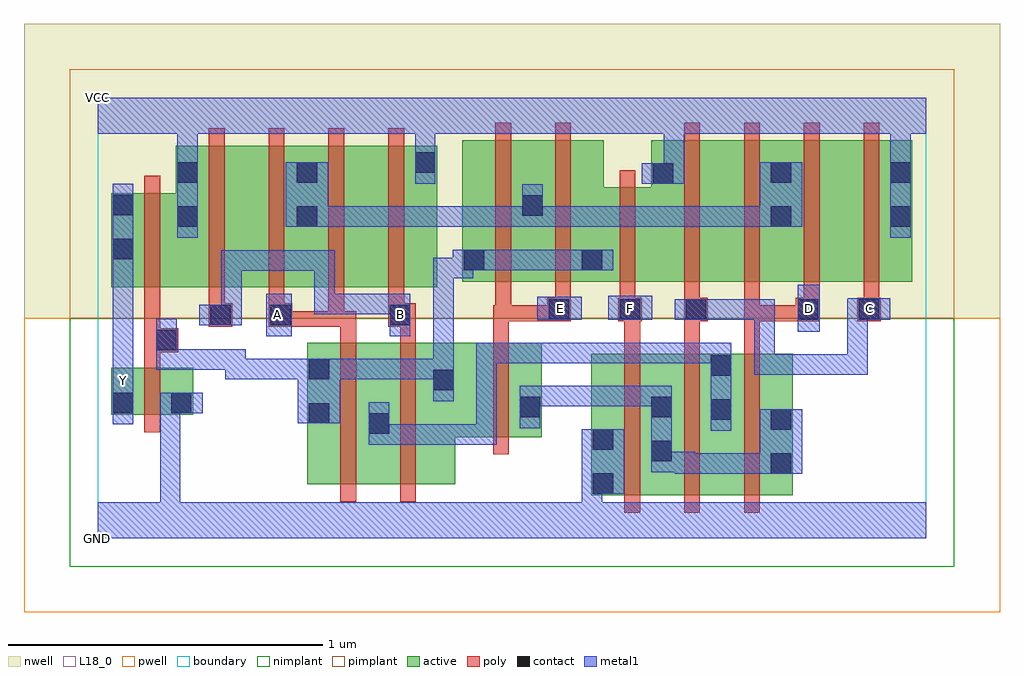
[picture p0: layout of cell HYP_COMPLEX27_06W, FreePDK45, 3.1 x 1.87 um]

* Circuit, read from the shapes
.subckt HYP_COMPLEX27_06W A B C D E F GND VCC Y
M1 GND n1 Y VSUBS nfet w=0.15u l=0.05u
M2 n2 A n1 VSUBS nfet w=0.45u l=0.05u
M3 n1 B n2 VSUBS nfet w=0.45u l=0.05u
M4 n3 E n1 VSUBS nfet w=0.3u l=0.05u
M5 n3 F GND VSUBS nfet w=0.45u l=0.05u
M6 n2 C n3 VSUBS nfet w=0.45u l=0.05u
M7 n3 D n2 VSUBS nfet w=0.45u l=0.05u
M8 VCC n1 Y n4 pfet w=0.3u l=0.05u
M9 n5 B VCC n4 pfet w=0.45u l=0.05u
M10 n6 A n5 n4 pfet w=0.45u l=0.05u
M11 n7 A n6 n4 pfet w=0.45u l=0.05u
M12 VCC B n7 n4 pfet w=0.45u l=0.05u
M13 n6 E n1 n4 pfet w=0.45u l=0.05u m=2
M14 VCC F n1 n4 pfet w=0.3u l=0.05u
M15 n8 C VCC n4 pfet w=0.45u l=0.05u
M16 n6 D n8 n4 pfet w=0.45u l=0.05u
M17 n9 D n6 n4 pfet w=0.45u l=0.05u
M18 VCC C n9 n4 pfet w=0.45u l=0.05u
.ends

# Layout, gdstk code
import gdstk
lib = gdstk.Library(unit=1e-6, precision=1e-09)
def R(c, l, rs):  # rectangles x0, y0, x1, y1
    for r in rs: c.add(gdstk.rectangle(r[:2], r[2:], *l))
def A(c, l, x, y, w, h, nx, ny, dx, dy):  # array of equal rectangles
    R(c, l, [(x+i*dx, y+j*dy, x+i*dx+w, y+j*dy+h) for i in range(nx) for j in range(ny)])
active = (1, 0)
pwell = (2, 0)
nwell = (3, 0)
nimplant = (4, 0)
pimplant = (5, 0)
poly = (9, 0)
contact = (10, 0)
metal1 = (11, 0)
L18_0 = (18, 0)
boundary = (235, 0)

hyp_complex27_06w = lib.new_cell('HYP_COMPLEX27_06W')
R(hyp_complex27_06w, active, [(1.567,0.137,1.827,0.587), (1.567,0.137,1.642,0.542), (1.752,0.137,2.017,0.587), (1.942,0.137,2.207,0.587), (0.665,0.172,0.93,0.622), (0.855,0.172,1.135,0.622), (0.665,0.195,0.74,0.622), (0.855,0.195,0.93,0.542), (1.752,0.195,1.827,0.542), (1.942,0.195,2.017,0.587), (2.132,0.195,2.207,0.587), (1.06,0.322,1.41,0.622), (1.06,0.33,1.135,0.54), (1.335,0.345,1.41,0.622), (0.042,0.392,0.117,0.542), (0.042,0.392,0.302,0.542), (0.227,0.392,0.302,0.542), (0.042,0.797,0.322,1.097), (0.042,0.797,0.117,1.097), (0.247,0.797,0.322,1.247), (0.247,0.797,0.472,1.247), (0.472,0.797,0.702,1.247), (0.627,0.797,0.852,1.247), (0.627,0.797,0.702,1.2), (0.852,0.797,1.077,1.247), (1.157,0.815,1.417,1.265), (1.157,0.815,1.232,1.047), (1.342,0.815,1.607,1.265), (1.342,0.815,1.417,1.2), (1.532,0.815,1.832,1.115), (1.757,0.815,1.982,1.265), (1.982,0.815,2.207,1.265), (2.132,0.815,2.362,1.265), (2.132,0.815,2.207,1.2), (2.362,0.815,2.587,1.265), (2.512,0.815,2.587,1.265), (1.532,0.847,1.607,1.07), (1.002,0.857,1.077,1.247), (1.757,0.887,1.832,1.265)])
R(hyp_complex27_06w, pwell, [(-0.235,-0.235,2.865,0.7)])
R(hyp_complex27_06w, nwell, [(-0.235,0.7,2.865,1.635)])
R(hyp_complex27_06w, nimplant, [(-0.09,-0.09,2.72,0.7)])
R(hyp_complex27_06w, pimplant, [(-0.09,0.7,2.72,1.49)])
A(hyp_complex27_06w, poly, 1.672, 0.082, 0.05, 0.56, 3, 1, 0.19, 0)
A(hyp_complex27_06w, poly, 1.672, 0.592, 0.05, 0.148, 3, 1, 0.19, 0)
A(hyp_complex27_06w, poly, 1.452, 0.715, 0.05, 0.095, 3, 1, 0.205, 0)
A(hyp_complex27_06w, poly, 0.352, 0.742, 0.05, 0.56, 4, 1, 0.19, 0)
A(hyp_complex27_06w, poly, 1.862, 0.76, 0.05, 0.56, 4, 1, 0.19, 0)
R(hyp_complex27_06w, poly, [(0.77,0.117,0.82,0.677), (0.96,0.117,1.01,0.677), (1.255,0.267,1.305,0.677), (0.147,0.337,0.197,0.597), (0.147,0.547,0.197,0.642), (0.147,0.592,0.255,0.667), (0.147,0.617,0.197,0.792), (0.77,0.627,0.82,0.722), (0.96,0.627,1.01,0.722), (1.255,0.627,1.305,0.74), (0.352,0.672,0.427,0.747), (0.542,0.672,0.617,0.747), (0.567,0.672,0.782,0.722), (0.567,0.672,0.617,0.722), (0.567,0.672,0.617,0.722), (0.732,0.672,0.782,0.792), (0.732,0.672,0.82,0.722), (0.922,0.672,1.01,0.747), (1.255,0.69,1.312,0.74), (1.262,0.69,1.477,0.74), (1.262,0.69,1.312,0.81), (1.427,0.69,1.502,0.765), (1.427,0.69,1.477,0.74), (1.427,0.69,1.477,0.74), (1.652,0.69,1.727,0.765), (1.862,0.69,1.937,0.765), (2.052,0.69,2.267,0.74), (2.052,0.69,2.102,0.74), (2.052,0.69,2.102,0.74), (2.052,0.69,2.102,0.74), (2.052,0.69,2.102,0.81), (2.217,0.69,2.292,0.765), (2.412,0.69,2.487,0.765), (0.352,0.697,0.402,0.792), (0.542,0.697,0.592,0.792), (0.922,0.697,0.972,0.792), (2.242,0.715,2.292,0.81), (2.432,0.715,2.482,0.81), (0.147,0.742,0.197,1.152), (1.262,0.76,1.312,1.32), (1.452,0.76,1.502,1.32), (1.657,0.76,1.707,1.17)])
R(hyp_complex27_06w, contact, [(1.572,0.142,1.637,0.207), (2.137,0.205,2.202,0.27), (1.757,0.245,1.822,0.31), (1.572,0.282,1.637,0.347), (0.86,0.332,0.925,0.397), (2.137,0.345,2.202,0.41), (0.67,0.365,0.735,0.43), (1.947,0.377,2.012,0.442), (1.34,0.385,1.405,0.45), (1.757,0.385,1.822,0.45), (0.047,0.397,0.112,0.462), (0.232,0.397,0.297,0.462), (1.065,0.47,1.13,0.535), (0.67,0.505,0.735,0.57), (1.947,0.517,2.012,0.582), (0.185,0.597,0.25,0.662), (0.357,0.677,0.422,0.742), (0.547,0.677,0.612,0.742), (0.927,0.677,0.992,0.742), (1.432,0.695,1.497,0.76), (1.657,0.695,1.722,0.76), (1.867,0.695,1.932,0.76), (2.222,0.695,2.287,0.76), (2.417,0.695,2.482,0.76), (1.162,0.852,1.227,0.917), (1.537,0.852,1.602,0.917), (0.047,0.887,0.112,0.952), (0.252,0.99,0.317,1.055), (0.632,0.99,0.697,1.055), (2.137,0.99,2.202,1.055), (2.517,0.99,2.582,1.055), (1.347,1.025,1.412,1.09), (0.047,1.027,0.112,1.092), (1.762,1.127,1.827,1.192), (0.252,1.13,0.317,1.195), (0.632,1.13,0.697,1.195), (2.137,1.13,2.202,1.195), (2.517,1.13,2.582,1.195), (1.007,1.162,1.072,1.227)])
R(hyp_complex27_06w, metal1, [(0,0,2.63,0.115), (0.197,0.05,0.262,0.115), (0.197,0.05,0.262,0.115), (0.197,0.05,0.262,0.115), (0.197,0.05,0.262,0.115), (0.197,0.05,0.262,0.115), (0.197,0.05,0.262,0.115), (0.197,0.05,0.262,0.462), (1.537,0.05,1.602,0.115), (1.537,0.05,1.602,0.115), (1.537,0.05,1.602,0.207), (1.537,0.142,1.672,0.347), (1.832,0.205,1.987,0.27), (1.832,0.205,1.897,0.275), (1.922,0.205,1.987,0.27), (1.922,0.205,2.15,0.27), (2.085,0.205,2.15,0.27), (2.085,0.205,2.167,0.27), (2.102,0.205,2.237,0.41), (1.757,0.21,1.822,0.485), (1.757,0.21,1.897,0.275), (0.86,0.297,0.925,0.362), (0.86,0.297,0.925,0.362), (0.86,0.297,0.925,0.432), (0.86,0.297,1.072,0.362), (1.007,0.297,1.072,0.362), (1.007,0.297,1.267,0.362), (1.202,0.297,1.267,0.362), (1.202,0.297,1.267,0.622), (1.947,0.342,2.012,0.617), (1.34,0.35,1.405,0.485), (0.047,0.362,0.112,0.497), (0.635,0.365,0.77,0.57), (0.197,0.397,0.332,0.462), (1.34,0.42,1.405,0.485), (1.34,0.42,1.405,0.485), (1.34,0.42,1.622,0.485), (1.557,0.42,1.622,0.485), (1.557,0.42,1.622,0.485), (1.557,0.42,1.622,0.485), (1.557,0.42,1.822,0.485), (0.047,0.432,0.112,0.497), (0.047,0.432,0.112,0.567), (1.065,0.435,1.13,0.57), (0.047,0.502,0.112,0.917), (0.405,0.505,0.595,0.57), (0.405,0.505,0.47,0.6), (0.53,0.505,0.595,0.57), (0.53,0.505,0.7,0.57), (0.705,0.505,0.77,0.57), (0.705,0.505,0.77,0.57), (0.705,0.505,0.935,0.57), (0.87,0.505,0.935,0.57), (0.87,0.505,0.935,0.57), (0.87,0.505,0.935,0.57), (0.87,0.505,1.13,0.57), (1.065,0.505,1.13,0.892), (2.085,0.52,2.15,0.76), (2.085,0.52,2.15,0.585), (2.085,0.52,2.31,0.585), (2.245,0.52,2.31,0.585), (2.245,0.52,2.445,0.585), (2.38,0.52,2.445,0.76), (2.38,0.52,2.445,0.585), (0.185,0.535,0.25,0.6), (0.185,0.535,0.387,0.6), (0.185,0.535,0.25,0.627), (0.322,0.535,0.387,0.6), (0.322,0.535,0.47,0.6), (1.947,0.552,2.012,0.617), (1.947,0.552,2.012,0.622), (1.202,0.557,1.267,0.622), (1.202,0.557,1.267,0.622), (1.202,0.557,1.267,0.622), (1.202,0.557,1.43,0.622), (1.365,0.557,1.43,0.622), (1.365,0.557,1.43,0.622), (1.365,0.557,1.43,0.622), (1.365,0.557,1.585,0.622), (1.52,0.557,1.585,0.622), (1.52,0.557,1.76,0.622), (1.695,0.557,1.76,0.622), (1.695,0.557,1.76,0.622), (1.695,0.557,1.76,0.622), (1.695,0.557,2.012,0.622), (0.185,0.562,0.25,0.627), (0.185,0.562,0.25,0.627), (0.185,0.562,0.25,0.697), (0.535,0.642,0.615,0.777), (0.927,0.642,0.992,0.777), (2.222,0.657,2.292,0.805), (0.322,0.677,0.457,0.742), (0.392,0.677,0.457,0.742), (0.392,0.677,0.457,0.742), (0.392,0.677,0.457,0.915), (1.395,0.695,1.537,0.767), (1.62,0.695,1.76,0.77), (1.832,0.695,1.967,0.76), (1.902,0.695,1.967,0.76), (1.902,0.695,1.967,0.76), (1.902,0.695,2.15,0.76), (2.085,0.695,2.15,0.76), (2.085,0.695,2.15,0.76), (2.085,0.695,2.15,0.76), (2.38,0.695,2.447,0.76), (2.38,0.695,2.445,0.76), (2.382,0.695,2.517,0.762), (0.687,0.712,0.752,0.777), (0.687,0.712,0.752,0.777), (0.687,0.712,0.752,0.777), (0.687,0.712,0.92,0.777), (0.687,0.712,0.752,0.915), (0.855,0.712,0.92,0.777), (0.855,0.712,0.992,0.777), (1.065,0.827,1.13,0.892), (1.065,0.827,1.192,0.892), (1.127,0.827,1.192,0.892), (1.127,0.827,1.192,0.917), (0.392,0.85,0.457,0.915), (0.392,0.85,0.615,0.915), (0.55,0.85,0.615,0.915), (0.55,0.85,0.752,0.915), (0.687,0.85,0.752,0.915), (0.047,0.852,0.112,1.127), (1.127,0.852,1.262,0.917), (1.197,0.852,1.267,0.917), (1.202,0.852,1.267,0.917), (1.202,0.852,1.405,0.917), (1.34,0.852,1.405,0.917), (1.34,0.852,1.405,0.917), (1.34,0.852,1.405,0.917), (1.34,0.852,1.567,0.917), (1.502,0.852,1.637,0.917), (0.252,0.955,0.317,1.23), (2.517,0.955,2.582,1.23), (0.597,0.99,0.732,1.195), (0.667,0.99,0.752,1.055), (0.687,0.99,0.752,1.055), (0.687,0.99,0.935,1.055), (0.87,0.99,0.935,1.055), (0.87,0.99,0.935,1.055), (0.87,0.99,0.935,1.055), (0.87,0.99,1.072,1.055), (1.007,0.99,1.072,1.055), (1.007,0.99,1.267,1.055), (1.202,0.99,1.267,1.055), (1.202,0.99,1.267,1.055), (1.202,0.99,1.267,1.055), (1.202,0.99,1.412,1.055), (1.347,0.99,1.412,1.055), (1.347,0.99,1.412,1.055), (1.347,0.99,1.622,1.055), (1.347,0.99,1.412,1.125), (1.557,0.99,1.622,1.055), (1.557,0.99,1.622,1.055), (1.557,0.99,1.622,1.055), (1.557,0.99,1.83,1.055), (1.765,0.99,1.83,1.055), (1.765,0.99,1.83,1.055), (1.765,0.99,1.83,1.055), (1.765,0.99,1.967,1.055), (1.902,0.99,1.967,1.055), (1.902,0.99,1.967,1.055), (1.902,0.99,1.967,1.055), (1.902,0.99,2.15,1.055), (2.085,0.99,2.15,1.055), (2.085,0.99,2.167,1.055), (2.102,0.99,2.237,1.195), (1.007,1.127,1.072,1.262), (1.727,1.127,1.862,1.192), (1.797,1.127,1.862,1.35), (0.252,1.165,0.317,1.35), (2.517,1.165,2.582,1.35), (1.007,1.197,1.072,1.35), (0,1.285,2.63,1.4)])
R(hyp_complex27_06w, L18_0, [(0,0,2.63,0.115), (0.197,0.05,0.262,0.115), (0.197,0.05,0.262,0.115), (0.197,0.05,0.262,0.115), (0.197,0.05,0.262,0.115), (0.197,0.05,0.262,0.115), (0.197,0.05,0.262,0.115), (0.197,0.05,0.262,0.462), (1.537,0.05,1.602,0.115), (1.537,0.05,1.602,0.115), (1.537,0.05,1.602,0.207), (1.537,0.142,1.672,0.347), (0.047,0.362,0.112,0.497), (0.197,0.397,0.332,0.462), (0.047,0.432,0.112,0.567), (0.047,0.432,0.112,0.497), (0.047,0.467,0.112,0.532), (0.047,0.502,0.112,0.917), (2.085,0.52,2.15,0.585), (2.085,0.52,2.15,0.76), (2.085,0.52,2.31,0.585), (2.245,0.52,2.31,0.585), (2.245,0.52,2.445,0.585), (2.38,0.52,2.445,0.585), (2.38,0.52,2.445,0.76), (0.535,0.642,0.615,0.777), (0.927,0.642,0.992,0.777), (2.222,0.657,2.292,0.805), (0.322,0.677,0.457,0.742), (0.392,0.677,0.457,0.742), (0.392,0.677,0.457,0.742), (0.392,0.677,0.457,0.915), (0.537,0.677,0.602,0.742), (0.927,0.677,0.992,0.742), (1.395,0.695,1.537,0.767), (1.62,0.695,1.76,0.77), (1.832,0.695,1.967,0.76), (1.902,0.695,1.967,0.76), (1.902,0.695,1.967,0.76), (1.902,0.695,2.15,0.76), (2.085,0.695,2.15,0.76), (2.085,0.695,2.15,0.76), (2.085,0.695,2.15,0.76), (2.38,0.695,2.445,0.76), (2.38,0.695,2.447,0.76), (2.382,0.695,2.517,0.762), (1.437,0.697,1.502,0.762), (1.657,0.697,1.722,0.762), (2.227,0.697,2.292,0.762), (2.417,0.697,2.482,0.762), (0.687,0.712,0.752,0.777), (0.687,0.712,0.752,0.777), (0.687,0.712,0.752,0.777), (0.687,0.712,0.752,0.915), (0.687,0.712,0.92,0.777), (0.855,0.712,0.92,0.777), (0.855,0.712,0.992,0.777), (0.392,0.85,0.457,0.915), (0.392,0.85,0.615,0.915), (0.55,0.85,0.615,0.915), (0.55,0.85,0.752,0.915), (0.687,0.85,0.752,0.915), (0.047,0.852,0.112,1.127), (0.252,0.955,0.317,1.23), (2.517,0.955,2.582,1.23), (1.007,1.127,1.072,1.262), (1.727,1.127,1.862,1.192), (1.797,1.127,1.862,1.35), (0.252,1.165,0.317,1.35), (2.517,1.165,2.582,1.35), (1.007,1.197,1.072,1.35), (0,1.285,2.63,1.4)])
R(hyp_complex27_06w, boundary, [(0,0,2.63,1.4)])
hyp_complex27_06w.add(gdstk.Label('A', (0.57,0.71), layer=11, texttype=0))
hyp_complex27_06w.add(gdstk.Label('B', (0.96,0.71), layer=11, texttype=0))
hyp_complex27_06w.add(gdstk.Label('C', (2.45,0.73), layer=11, texttype=0))
hyp_complex27_06w.add(gdstk.Label('D', (2.26,0.73), layer=11, texttype=0))
hyp_complex27_06w.add(gdstk.Label('E', (1.47,0.73), layer=11, texttype=0))
hyp_complex27_06w.add(gdstk.Label('F', (1.69,0.73), layer=11, texttype=0))
hyp_complex27_06w.add(gdstk.Label('Y', (0.08,0.5), layer=11, texttype=0))
hyp_complex27_06w.add(gdstk.Label('VCC', (0,1.4), layer=11, texttype=0))
hyp_complex27_06w.add(gdstk.Label('GND', (0,0), layer=11, texttype=0))

lib.write_gds('HYP_COMPLEX27_06W.gds')
